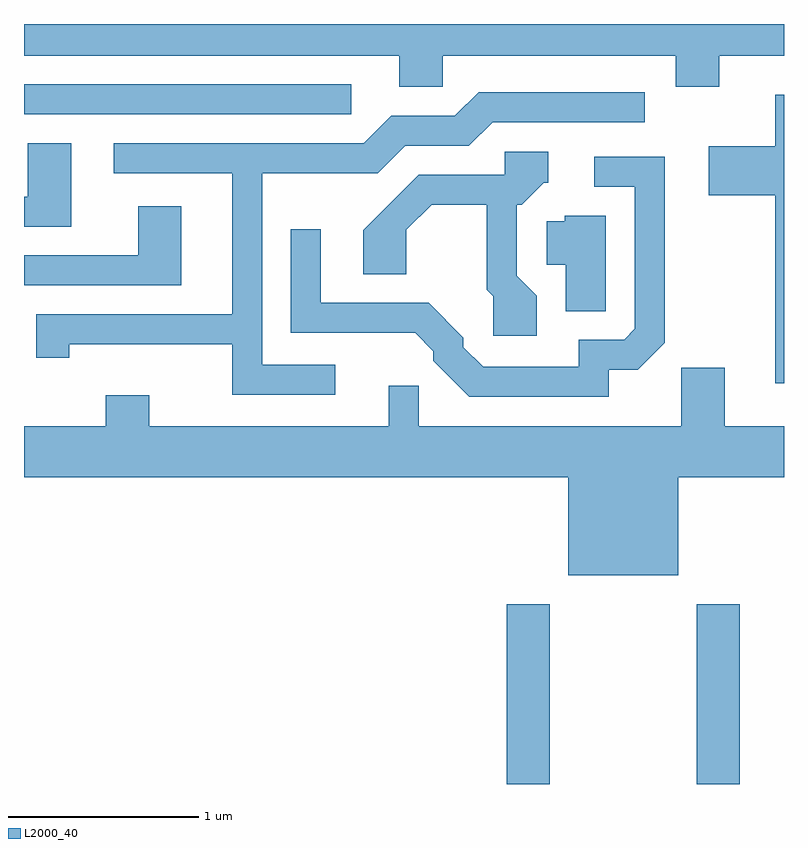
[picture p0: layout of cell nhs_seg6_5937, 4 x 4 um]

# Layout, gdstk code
import gdstk
lib = gdstk.Library(unit=1e-6, precision=1e-09)
def R(c, l, rs):  # rectangles x0, y0, x1, y1
    for r in rs: c.add(gdstk.rectangle(r[:2], r[2:], *l))
def P(c, l, *ps):  # polygons
    for p in ps: c.add(gdstk.Polygon(p, *l))
L2000_40 = (2000, 40)

nhs_seg6_5937 = lib.new_cell('nhs_seg6_5937')
R(nhs_seg6_5937, L2000_40, [(368.151,1586.162,368.379,1587.109), (369.151,1586.162,369.379,1587.109), (365.611,1589.686,367.333,1589.844)])
P(nhs_seg6_5937, L2000_40, [(367.814,1589.996),(369.041,1589.996),(369.041,1589.831),(369.269,1589.831),(369.269,1589.996),(369.611,1589.996),(369.611,1590.162),(365.611,1590.162),(365.611,1589.996),(367.586,1589.996),(367.586,1589.831),(367.814,1589.831)],
  [(367.248,1588.369),(366.864,1588.369),(366.864,1589.376),(367.472,1589.376),(367.617,1589.521),(367.952,1589.521),(368.077,1589.646),(368.878,1589.646),(368.878,1589.804),(368.004,1589.804),(367.879,1589.679),(367.544,1589.679),(367.399,1589.534),(366.083,1589.534),(366.083,1589.376),(366.706,1589.376),(366.706,1588.634),(365.676,1588.634),(365.676,1588.406),(365.849,1588.406),(365.849,1588.476),(366.706,1588.476),(366.706,1588.211),(367.248,1588.211)],
  [(369.611,1589.789),(369.566,1589.789),(369.566,1589.519),(369.216,1589.519),(369.216,1589.261),(369.566,1589.261),(369.566,1588.271),(369.611,1588.271)],
  [(365.859,1589.534),(365.631,1589.534),(365.631,1589.254),(365.611,1589.254),(365.611,1589.096),(365.859,1589.096)],
  [(368.309,1588.732),(368.204,1588.837),(368.204,1589.211),(368.232,1589.211),(368.347,1589.326),(368.369,1589.326),(368.369,1589.489),(368.141,1589.489),(368.141,1589.369),(367.689,1589.369),(367.396,1589.077),(367.396,1588.846),(367.624,1588.846),(367.624,1589.079),(367.757,1589.211),(368.046,1589.211),(368.046,1588.764),(368.081,1588.729),(368.081,1588.521),(368.309,1588.521)],
  [(368.689,1588.341),(368.842,1588.341),(368.984,1588.484),(368.984,1589.464),(368.613,1589.464),(368.613,1589.306),(368.826,1589.306),(368.826,1588.557),(368.769,1588.499),(368.531,1588.499),(368.531,1588.359),(368.027,1588.359),(367.924,1588.462),(367.924,1588.512),(367.742,1588.694),(367.174,1588.694),(367.174,1589.083),(367.016,1589.083),(367.016,1588.536),(367.669,1588.536),(367.766,1588.439),(367.766,1588.389),(367.954,1588.201),(368.689,1588.201)],
  [(366.439,1589.204),(366.211,1589.204),(366.211,1588.944),(365.611,1588.944),(365.611,1588.786),(366.439,1588.786)],
  [(368.674,1589.154),(368.456,1589.154),(368.456,1589.124),(368.361,1589.124),(368.361,1588.896),(368.461,1588.896),(368.461,1588.651),(368.674,1588.651)],
  [(369.054,1587.776),(369.611,1587.776),(369.611,1588.044),(369.299,1588.044),(369.299,1588.354),(369.071,1588.354),(369.071,1588.044),(367.689,1588.044),(367.689,1588.258),(367.531,1588.258),(367.531,1588.044),(366.269,1588.044),(366.269,1588.209),(366.041,1588.209),(366.041,1588.044),(365.611,1588.044),(365.611,1587.776),(368.476,1587.776),(368.476,1587.261),(369.054,1587.261)])

lib.write_gds('nhs_seg6_5937.gds')
